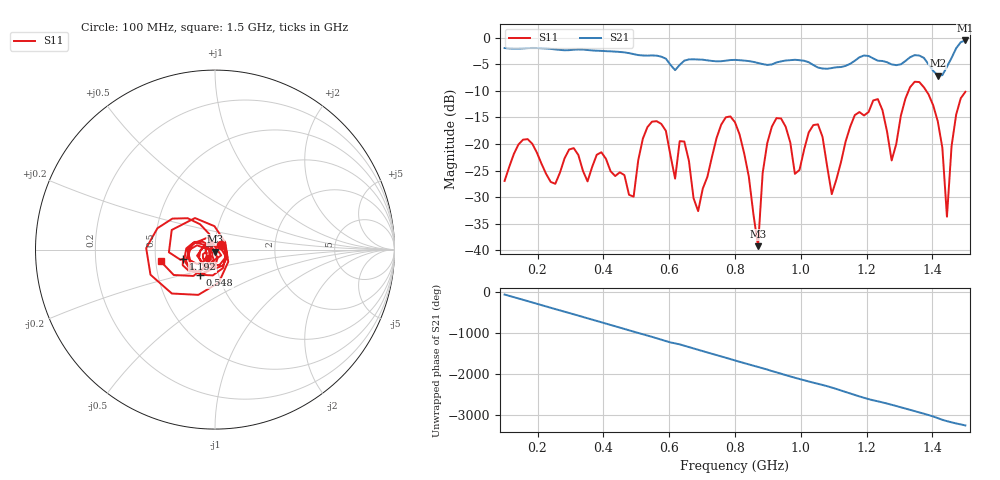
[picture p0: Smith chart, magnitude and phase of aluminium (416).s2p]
! NanoVNA-App
! Date: 2025-09-25 14:58:31
! Start: 100MHz Stop: 1,5GHz Points: 101
! S-Parameter data: F S11 S21 S12 S22
# Hz S RI R 50
!  Frequency  S11_Real  S11_Imag  S21_Real  S21_Imag  S12_Real  S12_Imag  S22_Real  S22_Imag
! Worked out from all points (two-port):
!   101 points, 100 MHz to 1.5 GHz, reference 50 ohm
!   highest |S21| = -0.49 dB at 1.5 GHz (marker M1); lowest = -7.1 dB at 1.416 GHz (marker M2)
!   |S21| within 3 dB of the highest: start of sweep to 572.1 MHz; 1.46 GHz to end of sweep (the widest 2 of 4)
!   lowest |S11| = -39.3 dB at 870 MHz (marker M3), VSWR 1.02, Z = 50.2 - j1.07 ohm
!   |S11| at or under -10 dB: start of sweep to 1.327 GHz; 1.381 GHz to end of sweep
!   S12 and S22 are empty: the file has one direction only
!   S11 on the Smith chart (normalised r, x): 100 MHz: 1.07, +0.06; 548 MHz: 0.82, -0.24; 1.192 GHz: 0.69, -0.07; 1.5 GHz: 0.53, -0.08
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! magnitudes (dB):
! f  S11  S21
! 100 MHz  -27.0  -1.9
! 156 MHz  -19.2  -2.0
! 338 MHz  -25.1  -2.2
! 492 MHz  -29.9  -3.1
! 548 MHz  -15.8  -3.3
! 576 MHz  -16.2  -3.5
! 646 MHz  -19.5  -4.3
! 688 MHz  -32.7  -4.1
! 800 MHz  -15.9  -4.2
! 870 MHz  -39.3  -4.7
! 912 MHz  -16.7  -5.0
! 982 MHz  -25.6  -4.1
! 1.038 GHz  -16.4  -5.1
! 1.094 GHz  -29.5  -5.7
! 1.192 GHz  -14.6  -3.3
! 1.234 GHz  -11.5  -4.3
! 1.276 GHz  -23.1  -5.0
! 1.346 GHz  -8.3  -3.3
! 1.416 GHz  -15.7  -7.1
! 1.444 GHz  -33.7  -5.4
! 1.472 GHz  -14.4  -2.0
! 1.5 GHz  -10.2  -0.5
